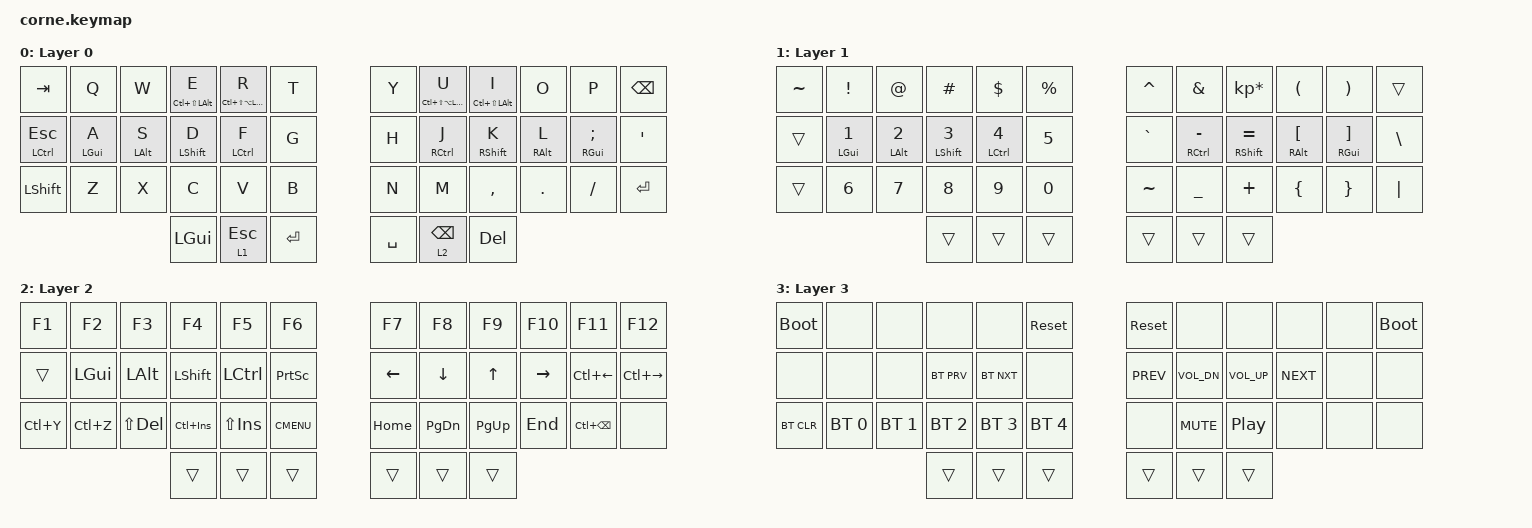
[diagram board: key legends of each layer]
/*
 * Copyright (c) 2020 The ZMK Contributors
 *
 * SPDX-License-Identifier: MIT
 */

#include <behaviors.dtsi>
#include <dt-bindings/zmk/keys.h>
#include <dt-bindings/zmk/bt.h>

// layers
#define L0 0
#define L1 1
#define L2 2
#define L3 3

// keys
#define ___ &trans
#define U_UNDO LC(Z)
#define U_REDO LC(Y)
#define U_CUT LS(DEL)
#define U_COPY LC(INS)
#define U_PASTE LS(INS)
#define MEH LC(LS(LALT))
#define HYPER LC(LS(LA(LGUI)))

#include "includes/keys.h"
#include "includes/mods.dtsi"


/ {
  behaviors {
    lt_rep: layer_tap_repeat {
      compatible = "zmk,behavior-hold-tap";
      #binding-cells = <2>;
      flavor = "balanced";
      tapping-term-ms = <200>;
      quick-tap-ms = <200>;
      bindings = <&mo>, <&kp>;
    };
  };

  combos {
    compatible = "zmk,combos";
    combo_caps {
      timeout-ms = <50>;
      key-positions = <15 20>;
      bindings = <&kp CAPS>;
    };
  };

  conditional_layers {
    compatible = "zmk,conditional-layers";
    tri_layer {
      if-layers = <L1 L2>;
      then-layer = <L3>;
    };
  };

  keymap {
    compatible = "zmk,keymap";

    layer_0 {
      display-name = "Layer 0";
      bindings = <
        &kp TAB        &kp Q          &kp W          &hml MEH E       &hml HYPER R   &kp T          &kp Y            &hmr HYPER U     &hmr MEH I         &kp O          &kp P            &kp BSPC
        &mt LCTRL ESC  &hml LGUI A    &hml LALT S    &hml LSHFT D     &hml LCTRL F   &kp G          &kp H            &hmr RCTRL J     &hmr RSHFT K       &hmr RALT L    &hmr RGUI SEMI   &kp SQT
        &kp LSHFT      &kp Z          &kp X          &kp C            &kp V          &kp B          &kp N            &kp M            &kp COMMA          &kp DOT        &kp FSLH         &kp ENTER
                                                     &kp LGUI         &lt L1 ESC     &kp ENTER      &kp SPACE        &lt_rep L2 BSPC  &kp DEL
      >;
    };

    layer_1 {
      display-name = "Layer 1";
      bindings = <
        &kp TILDE      &kp EXCL       &kp AT         &kp HASH         &kp DLLR       &kp PRCNT      &kp CARET        &kp AMPS         &kp KP_MULTIPLY    &kp LPAR       &kp RPAR         ___
        ___            &hml LGUI N1   &hml LALT N2   &hml LSHFT N3    &hml LCTRL N4  &kp N5         &kp GRAVE        &hmr RCTRL MINUS &hmr RSHFT EQUAL   &hmr RALT LBKT &hmr RGUI RBKT   &kp BSLH
        ___            &kp N6         &kp N7         &kp N8           &kp N9         &kp N0         &kp TILDE        &kp UNDER        &kp PLUS           &kp LBRC       &kp RBRC         &kp PIPE
                                                     ___              ___            ___            ___              ___              ___
      >;
    };

    layer_2 {
      display-name = "Layer 2";
      bindings = <
        &kp F1         &kp F2         &kp F3         &kp F4           &kp F5         &kp F6         &kp F7           &kp F8           &kp F9             &kp F10        &kp F11          &kp F12
        ___            &kp LGUI       &kp LALT       &kp LSHFT        &kp LCTRL      &kp PSCRN      &kp LEFT         &kp DOWN         &kp UP             &kp RIGHT      &kp LC(LEFT)     &kp LC(RIGHT)
        &kp U_REDO     &kp U_UNDO     &kp U_CUT      &kp U_COPY       &kp U_PASTE    &kp K_CMENU    &kp HOME         &kp PG_DN        &kp PG_UP          &kp END        &kp LC(BSPC)     &none
                                                     ___              ___            ___            ___              ___              ___
      >;
    };

    layer_3 {
      display-name = "Layer 3";
      bindings = <
        &bootloader    &none          &none          &none            &none          &sys_reset     &sys_reset       &none            &none              &none          &none            &bootloader
        &none          &none          &none          &bt BT_PRV       &bt BT_NXT     &none          &kp C_PREV       &kp C_VOL_DN     &kp C_VOL_UP       &kp C_NEXT     &none            &none
        &bt BT_CLR     &bt BT_SEL 0   &bt BT_SEL 1   &bt BT_SEL 2     &bt BT_SEL 3   &bt BT_SEL 4   &none            &kp C_MUTE       &kp C_PP           &none          &none            &none
                                                     ___              ___            ___            ___              ___              ___
      >;
    };
  };
};
